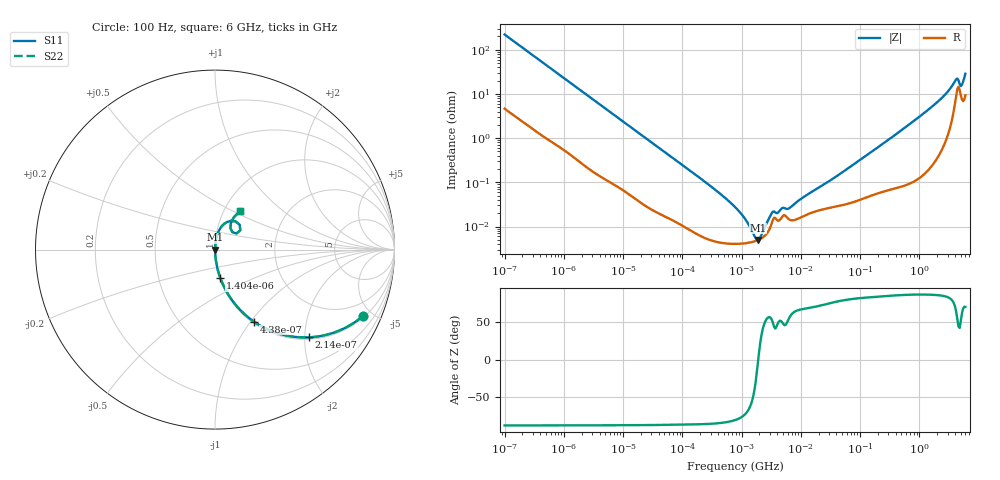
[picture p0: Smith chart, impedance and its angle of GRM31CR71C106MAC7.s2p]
!Murata Part Number: GRM31CR71C106MAC7
!These Parameters are Measured in Series Mode Connection
!Data Generated on Mar 30, 2021
!  o--ll--o
!Port1  Port2
!  o------o
!Operation Temp=25[degC], DC Bias Voltage=0[V]
!Freq. Start=100[Hz] Stop=6[GHz] 401[Steps]
# Hz S RI R 50
!Freq.(Hz) S11(Real) S11(Imag) S21(Real) S21(Imag) S12(Real) S12(Imag) S22(Real) S22(Imag)
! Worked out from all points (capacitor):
!   401 points, 100 Hz to 6 GHz, reference 50 ohm
!   read as one part in series: C = 7.14 uF near 109 Hz
!   lowest |Z| = 4.95 mohm at 1.897 MHz (marker M1)
!   series resonance near 1.911 MHz, so ESL is about 970 pH
!   S11 on the Smith chart (normalised r, x): 100 Hz: 1.09, -4.44; 214 Hz: 1.04, -2.10; 438 Hz: 1.02, -1.03; 1.404 kHz: 1.01, -0.33; 6 GHz: 1.19, +0.54
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100  0.8263 -0.3686  0.1737 0.3686  0.1737 0.3686  0.8263 -0.3686
214  0.5229 -0.4889  0.4771 0.4889  0.4771 0.4889  0.5229 -0.4889
438  0.2157 -0.4006  0.7843 0.4006  0.7843 0.4006  0.2157 -0.4006
717  0.0971 -0.2849  0.9029 0.2849  0.9029 0.2849  0.0971 -0.2849
1404  0.0298 -0.1586  0.9702 0.1586  0.9702 0.1586  0.0298 -0.1586
2008  0.0157 -0.1132  0.9843 0.1132  0.9843 0.1132  0.0157 -0.1132
6433  0.00229 -0.0364  0.9977 0.0364  0.9977 0.0364  0.00229 -0.0364
40335  0.000233 -0.00601  0.9998 0.00601  0.9998 0.00601  0.000233 -0.00601
302498  4.95e-05 -0.000813  1 0.000813  1 0.000813  4.95e-05 -0.000813
774597  4.05e-05 -0.000274  1 0.000274  1 0.000274  4.05e-05 -0.000274
1386327  4.35e-05 -8.79e-05  1 8.79e-05  1 8.79e-05  4.35e-05 -8.79e-05
1896632  4.95e-05 -2.1e-06  1 2.1e-06  1 2.1e-06  4.95e-05 -2.1e-06
2481164  6.23e-05 7.56e-05  0.9999 -7.56e-05  0.9999 -7.56e-05  6.23e-05 7.56e-05
3394479  0.000143 0.000165  0.9999 -0.000165  0.9999 -0.000165  0.000143 0.000165
6353432  0.000145 0.000214  0.9999 -0.000214  0.9999 -0.000214  0.000145 0.000214
1.555665e7  0.000208 0.000581  0.9998 -0.000581  0.9998 -0.000581  0.000208 0.000581
3.124326e8  0.000761 0.0095  0.9992 -0.0095  0.9992 -0.0095  0.000761 0.0095
1.873145e9  0.0066 0.0595  0.9934 -0.0595  0.9934 -0.0595  0.0066 0.0595
3.205649e9  0.029 0.118  0.971 -0.118  0.971 -0.118  0.029 0.118
4.009986e9  0.0867 0.1599  0.9133 -0.1599  0.9133 -0.1599  0.0867 0.1599
5.245841e9  0.0856 0.1208  0.9144 -0.1208  0.9144 -0.1208  0.0856 0.1208
6e9  0.1385 0.2137  0.8615 -0.2137  0.8615 -0.2137  0.1385 0.2137
